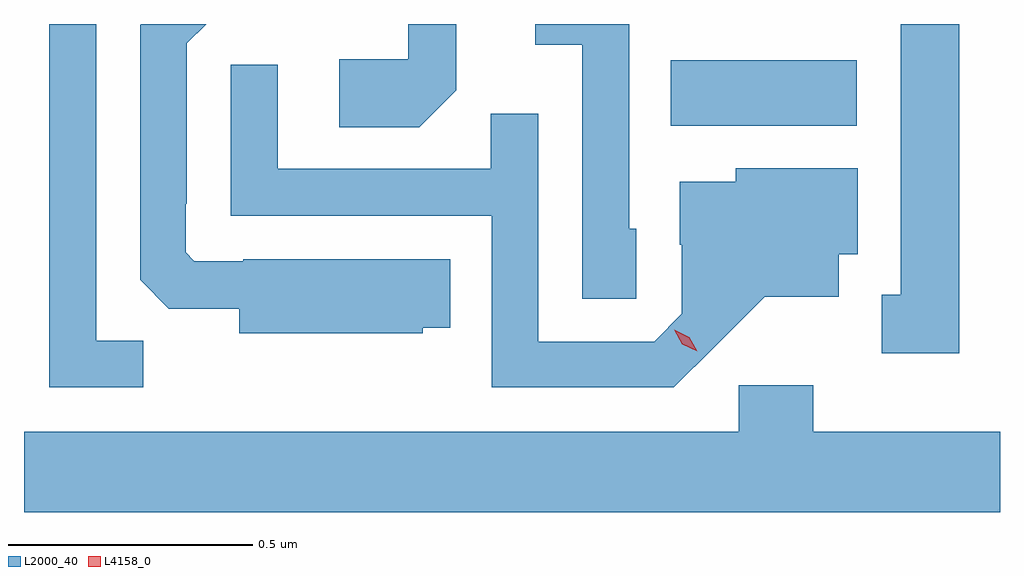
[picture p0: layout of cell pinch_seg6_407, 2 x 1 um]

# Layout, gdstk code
import gdstk
lib = gdstk.Library(unit=1e-6, precision=1e-09)
def R(c, l, rs):  # rectangles x0, y0, x1, y1
    for r in rs: c.add(gdstk.rectangle(r[:2], r[2:], *l))
def P(c, l, *ps):  # polygons
    for p in ps: c.add(gdstk.Polygon(p, *l))
L2000_40 = (2000, 40)
L4158_0 = (4158, 0)

pinch_seg6_407 = lib.new_cell('pinch_seg6_407')
R(pinch_seg6_407, L2000_40, [(659.29,936.14,659.671,936.274)])
P(pinch_seg6_407, L2000_40, [(658.209,935.699),(658.113,935.699),(658.113,936.348),(658.017,936.348),(658.017,935.604),(658.209,935.604)],
  [(658.851,936.212),(658.851,936.348),(658.752,936.348),(658.752,936.276),(658.611,936.276),(658.611,936.136),(658.775,936.136)],
  [(659.881,936.348),(659.762,936.348),(659.762,935.793),(659.723,935.793),(659.723,935.673),(659.881,935.673)],
  [(658.782,935.726),(658.838,935.726),(658.838,935.866),(658.414,935.866),(658.414,935.862),(658.314,935.862),(658.296,935.88),(658.296,935.98),(658.299,935.98),(658.299,936.309),(658.338,936.348),(658.205,936.348),(658.203,936.346),(658.203,935.824),(658.262,935.765),(658.406,935.765),(658.406,935.714),(658.782,935.714)],
  [(659.22,935.928),(659.205,935.928),(659.205,936.348),(659.013,936.348),(659.013,936.305),(659.109,936.305),(659.109,935.785),(659.22,935.785)],
  [(659.38,935.687),(659.483,935.789),(659.635,935.789),(659.635,935.876),(659.674,935.876),(659.674,936.052),(659.424,936.052),(659.424,936.025),(659.309,936.025),(659.309,935.896),(659.313,935.896),(659.313,935.754),(659.256,935.697),(659.019,935.697),(659.019,936.164),(658.921,936.164),(658.921,936.051),(658.485,936.051),(658.485,936.265),(658.389,936.265),(658.389,935.955),(658.923,935.955),(658.923,935.604),(659.296,935.604)],
  [(659.965,935.512),(659.582,935.512),(659.582,935.608),(659.43,935.608),(659.43,935.512),(657.965,935.512),(657.965,935.348),(659.965,935.348)])
P(pinch_seg6_407, L4158_0, [(659.345,935.677),(659.314,935.692),(659.297,935.721),(659.297,935.721),(659.297,935.721),(659.328,935.706),(659.345,935.677),(659.345,935.677)])

lib.write_gds('pinch_seg6_407.gds')
